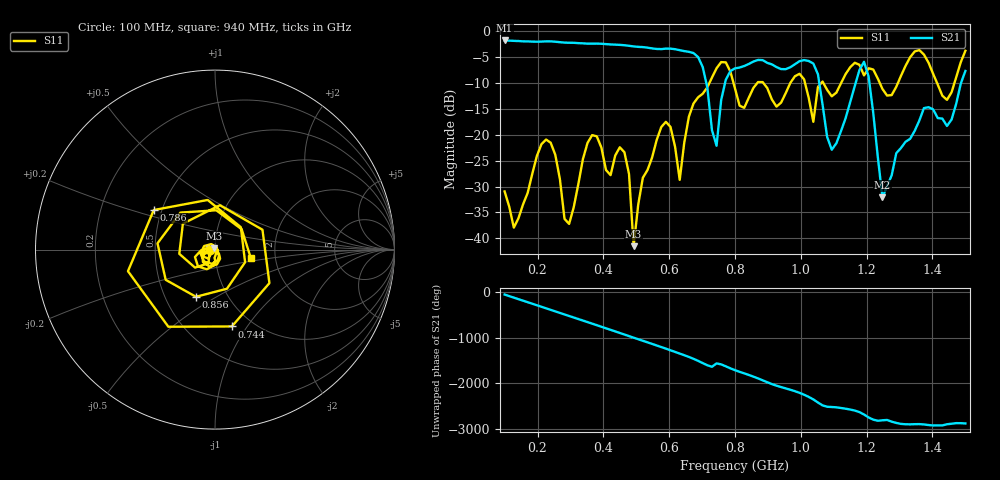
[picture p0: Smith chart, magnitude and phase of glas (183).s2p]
! NanoVNA-App
! Date: 2025-09-25 15:56:54
! Start: 100MHz Stop: 1,5GHz Points: 101
! S-Parameter data: F S11 S21 S12 S22
# Hz S RI R 50
!  Frequency  S11_Real  S11_Imag  S21_Real  S21_Imag  S12_Real  S12_Imag  S22_Real  S22_Imag
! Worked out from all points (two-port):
!   101 points, 100 MHz to 1.5 GHz, reference 50 ohm
!   highest |S21| = -1.80 dB at 100 MHz (marker M1); lowest = -32.1 dB at 1.248 GHz (marker M2)
!   |S21| within 3 dB of the highest: start of sweep to 684.2 MHz
!   lowest |S11| = -41.5 dB at 492 MHz (marker M3), VSWR 1.02, Z = 49.5 + j0.632 ohm
!   |S11| at or under -10 dB: start of sweep to 722.3 MHz; 795.4 MHz to 867.9 MHz (72.56 MHz wide, 8.72 % of centre); 886 MHz to 968.1 MHz (82.12 MHz wide, 8.86 % of centre) (the widest 3 of 7)
!   S12 and S22 are empty: the file has one direction only
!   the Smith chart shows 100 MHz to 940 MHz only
!   S11 on the Smith chart (normalised r, x): 100 MHz: 0.95, -0.01; 744 MHz: 0.80, -0.85; 786 MHz: 0.45, +0.24; 856 MHz: 0.71, -0.41; 940 MHz: 1.49, -0.14
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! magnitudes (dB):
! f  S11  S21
! 100 MHz  -31.0  -1.8
! 128 MHz  -37.9  -1.9
! 226 MHz  -20.9  -2.0
! 296 MHz  -37.2  -2.2
! 338 MHz  -24.7  -2.4
! 464 MHz  -23.4  -2.7
! 492 MHz  -41.5  -3.0
! 576 MHz  -18.5  -3.5
! 632 MHz  -28.7  -3.7
! 702 MHz  -12.1  -6.9
! 744 MHz  -7.2  -22.1
! 786 MHz  -7.8  -7.7
! 800 MHz  -11.1  -7.2
! 856 MHz  -11.0  -5.9
! 940 MHz  -13.8  -7.3
! 996 MHz  -8.2  -5.8
! 1.038 GHz  -17.5  -6.3
! 1.094 GHz  -12.6  -22.9
! 1.192 GHz  -8.5  -5.9
! 1.248 GHz  -11.2  -32.1
! 1.276 GHz  -12.3  -27.9
! 1.5 GHz  -3.8  -7.7
